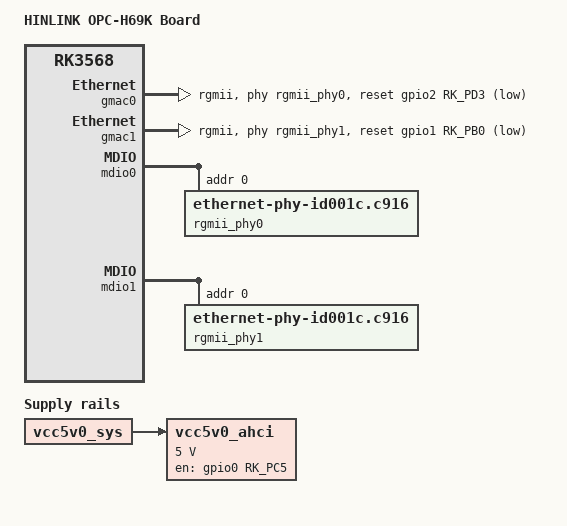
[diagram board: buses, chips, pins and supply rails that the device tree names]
// SPDX-License-Identifier: (GPL-2.0+ OR MIT)
// Copyright (c) 2022 AmadeusGhost <amadeus@jmu.edu.cn>

/dts-v1/;

#include "rk3568-hinlink-opc.dtsi"

/ {
	model = "HINLINK OPC-H69K Board";
	compatible = "hinlink,opc-h69k", "rockchip,rk3568";

	aliases {
		ethernet0 = &gmac1;
		ethernet1 = &rtl8125_2;
		ethernet2 = &rtl8125_1;
	};

	vcc5v0_ahci: vcc5v0-ahci {
		compatible = "regulator-fixed";
		enable-active-high;
		gpio = <&gpio0 RK_PC5 GPIO_ACTIVE_HIGH>;
		pinctrl-names = "default";
		pinctrl-0 = <&sata_pwr_en>;
		regulator-always-on;
		regulator-min-microvolt = <5000000>;
		regulator-max-microvolt = <5000000>;
		regulator-name = "vcc5v0_ahci";
		vin-supply = <&vcc5v0_sys>;
	};
};
		&cpu_thermal: cpu-thermal {

	trips {
		cpu_passive: cpu_passive {
			temperature = <40000>;
			hysteresis = <2000>;
			type = "active";
		};

		cpu_active: cpu_active {
			temperature = <50000>;
			hysteresis = <2000>;
			type = "active";
		};

		cpu_warm: cpu_warm {
			temperature = <60000>;
			hysteresis = <2000>;
			type = "active";
		};

		cpu_hot: cpu_hot {
			temperature = <70000>;
			hysteresis = <2000>;
			type = "active";
		};
	};

	cooling-maps {
		map1 {
			trip = <&cpu_passive>;
			cooling-device = <&fan 0 1>;
		};

		map2 {
			trip = <&cpu_active>;
			cooling-device = <&fan 1 2>;
		};

		map3 {
			trip = <&cpu_warm>;
			cooling-device = <&fan 2 3>;
		};

		map4 {
			trip = <&cpu_hot>;
			cooling-device = <&fan 3 4>;
		};
	};
};

&gmac0 {
        phy-mode = "rgmii";
        clock_in_out = "output";
        snps,reset-gpio = <&gpio2 RK_PD3 GPIO_ACTIVE_LOW>;
        snps,reset-active-low;
        snps,reset-delays-us = <0 20000 100000>;
        assigned-clocks = <&cru SCLK_GMAC0_RX_TX>, <&cru SCLK_GMAC0>;
        assigned-clock-parents = <&cru SCLK_GMAC0_RGMII_SPEED>, <&cru CLK_MAC0_2TOP>;
        assigned-clock-rates = <0>, <125000000>;
        pinctrl-names = "default";
        pinctrl-0 = <&gmac0_miim
                 &gmac0_tx_bus2
                 &gmac0_rx_bus2
                 &gmac0_rgmii_clk
                 &gmac0_rgmii_bus>;
        tx_delay = <0x19>;
        rx_delay = <0x10>;
        phy-handle = <&rgmii_phy0>;
        status = "okay";
};

&gmac1 {
        phy-mode = "rgmii";
        clock_in_out = "output";
        snps,reset-gpio = <&gpio1 RK_PB0 GPIO_ACTIVE_LOW>;
        snps,reset-active-low;
        snps,reset-delays-us = <0 20000 100000>;
        assigned-clocks = <&cru SCLK_GMAC1_RX_TX>, <&cru SCLK_GMAC1>;
        assigned-clock-parents = <&cru SCLK_GMAC1_RGMII_SPEED>, <&cru CLK_MAC1_2TOP>;
        assigned-clock-rates = <0>, <125000000>;
        pinctrl-names = "default";
        pinctrl-0 = <&gmac1m1_miim
                 &gmac1m1_tx_bus2
                 &gmac1m1_rx_bus2
                 &gmac1m1_rgmii_clk
                 &gmac1m1_rgmii_bus>;
	tx_delay = <0x4f>;
	rx_delay = <0x26>;
        phy-handle = <&rgmii_phy1>;
        status = "okay";
};

&mdio0 {
	rgmii_phy0: phy@0 {
		compatible = "ethernet-phy-id001c.c916",
			     "ethernet-phy-ieee802.3-c22";
		reg = <0x0>;
	};
};

&mdio1 {
	rgmii_phy1: phy@0 {
		compatible = "ethernet-phy-id001c.c916",
			     "ethernet-phy-ieee802.3-c22";
		reg = <0x0>;
	};
};

&vcc3v3_pcie {
	gpio = <&gpio0 RK_PC4 GPIO_ACTIVE_HIGH>;
};

&pinctrl {
	sata {
		sata_pwr_en: sata-pwr-en {
			rockchip,pins = <0 RK_PC5 RK_FUNC_GPIO &pcfg_pull_none>;
		};
	};
};

&sata0 {
	target-supply = <&vcc5v0_ahci>;
};
